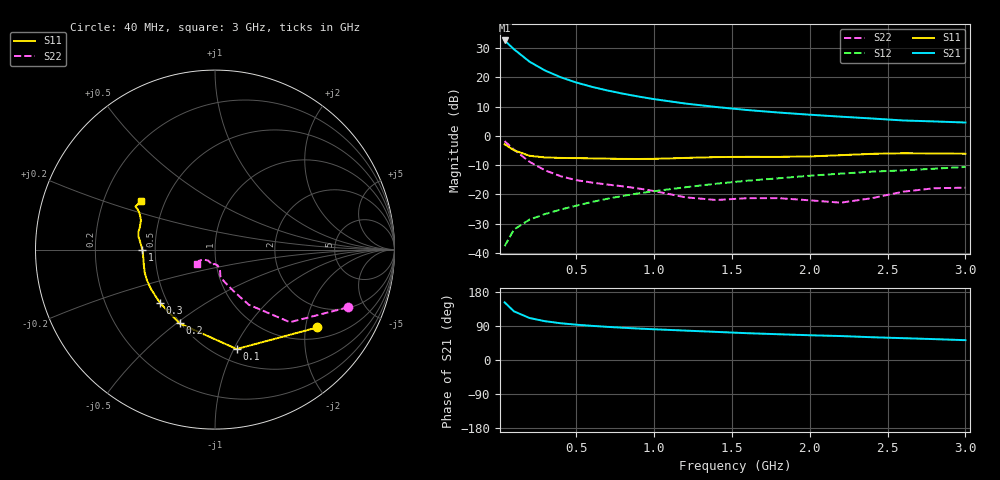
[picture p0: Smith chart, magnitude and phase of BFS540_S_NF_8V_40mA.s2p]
! Filename:  BFS540K.S2P  Version:  4.0
! Philips part #: BFS540  Date: Jun 1994
! Bias condition: Vce=8V, Ic=40mA
#  MHz  S  MA  R  50
! Freq  S11  S21  S12  S22  !GUM [dB]
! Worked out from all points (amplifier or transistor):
!   21 points, 40 MHz to 3 GHz, reference 50 ohm
!   highest |S21| = 32.6 dB at 40 MHz (marker M1)
!   |S21| within 3 dB of that: start of sweep to 100 MHz
!   unconditionally stable (mu >= 1): 615.8 MHz to end of sweep
!   at 300 MHz: K = 0.83, MSG = 24.5 dB, |S12| = -26.7 dB
!   at 1 GHz: K = 1.07, MAG = 14.1 dB, |S12| = -18.9 dB
!   at 3 GHz: K = 1.02, MAG = 6.7 dB, |S12| = -10.6 dB
!   lowest NFmin = 1.60 dB at 500 MHz
!   S11 on the Smith chart (normalised r, x): 40 MHz: 1.30, -2.32; 100 MHz: 0.63, -1.03; 200 MHz: 0.49, -0.51; 300 MHz: 0.46, -0.33; 1 GHz: 0.42, -0.00; 3 GHz: 0.37, +0.26
40  0.716 -37.3  42.65 152.1  0.013 71.9  0.809 -23.4
100  0.567 -77.7  30.19 128.4  0.025 60.6  0.581 -44.1
200  0.456 -115.7  18.49 110.8  0.037 57.8  0.36 -58.5
300  0.427 -135.8  13.06 102.4  0.046 59.9  0.257 -65.6
400  0.419 -148.1  10.04 97.0  0.055 62.6  0.204 -71.2
500  0.416 -155.8  8.162 93.2  0.064 64.6  0.175 -75.5
600  0.412 -161.7  6.882 90.1  0.074 66.1  0.159 -78.0
700  0.407 -166.6  5.957 87.5  0.084 67.4  0.147 -78.6
800  0.403 -171.0  5.251 85.1  0.094 68.4  0.137 -77.8
900  0.402 -175.4  4.693 83.0  0.104 68.9  0.126 -76.9
1000  0.404 -179.5  4.236 81.1  0.113 69.6  0.114 -76.6
1200  0.419 174.2  3.566 77.6  0.132 70.3  0.089 -80.8
1400  0.433 170.3  3.105 74.2  0.152 70.8  0.08 -92.6
1600  0.438 167.3  2.758 70.7  0.171 69.9  0.086 -103.0
1800  0.437 163.5  2.499 68.0  0.188 70.0  0.086 -105.4
2000  0.444 158.3  2.296 65.3  0.208 69.7  0.079 -108.1
2200  0.467 154.2  2.125 63.2  0.226 69.6  0.072 -122.1
2400  0.492 152.1  1.977 60.1  0.244 69.0  0.086 -139.9
2600  0.504 151.6  1.83 57.6  0.257 67.9  0.111 -145.4
2800  0.5 150.1  1.761 55.1  0.274 67.5  0.127 -141.8
3000  0.494 146.5  1.688 52.3  0.294 66.6  0.13 -140.4
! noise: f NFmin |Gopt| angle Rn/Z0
500  1.6  0.123  72  0.24
900  1.9  0.184  127  0.23
2000  2.6  0.4  -164  0.17
